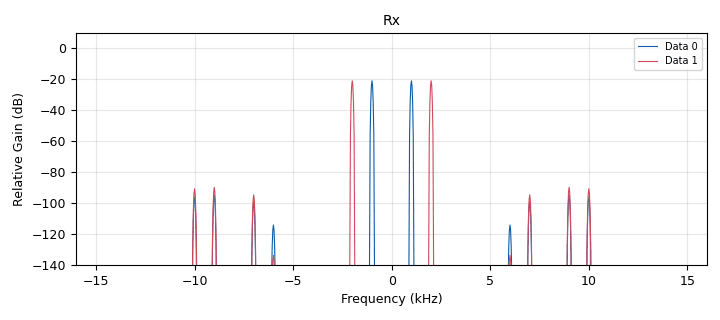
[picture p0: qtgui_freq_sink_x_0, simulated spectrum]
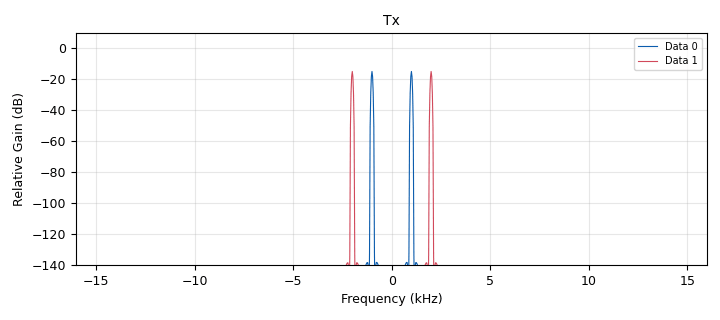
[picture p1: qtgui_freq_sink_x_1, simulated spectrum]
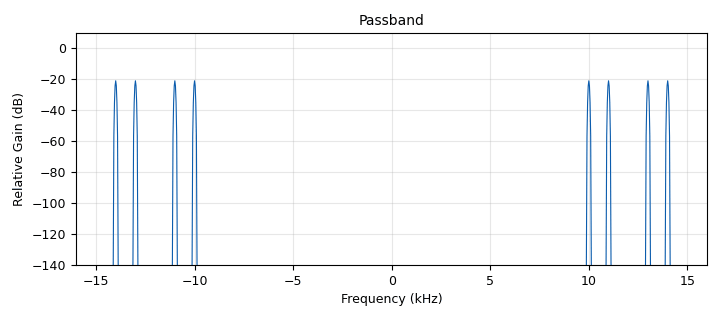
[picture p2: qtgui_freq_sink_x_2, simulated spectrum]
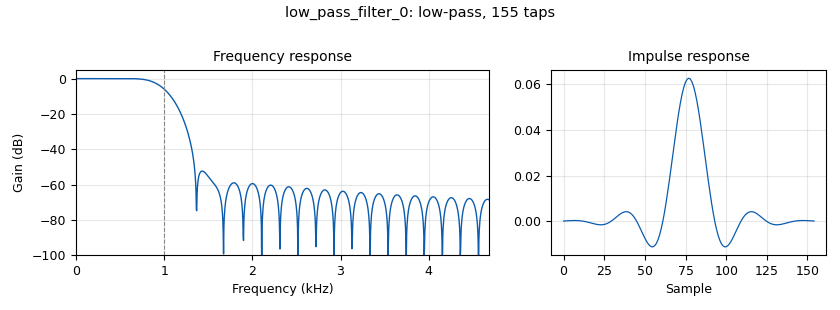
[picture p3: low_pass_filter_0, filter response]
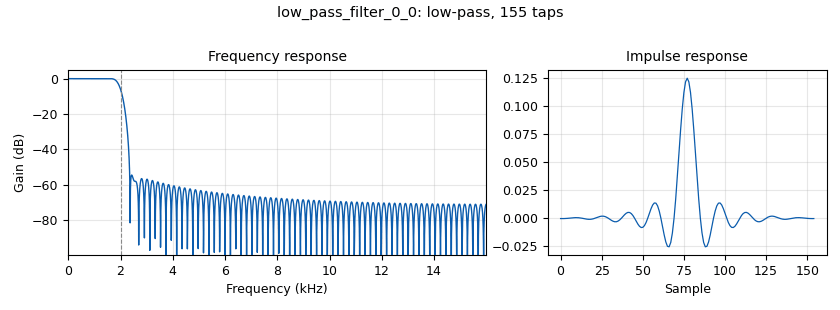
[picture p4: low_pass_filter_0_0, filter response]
options:
  parameters:
    description: Convert I/Q signals to qam modulated signal and vice versa.
    generate_options: qt_gui
    id: directconvert
    output_language: python
    title: Direct converter
  states: {}

blocks:
- name: fc
  id: variable
  parameters:
    value: 20e3
  states: {}
- name: samp_rate
  id: variable
  parameters:
    value: '32000'
  states: {}
- name: analog_sig_source_x_0
  id: analog_sig_source_x
  parameters:
    amp: '1'
    comment: I signal
    freq: '1000'
    offset: '0'
    phase: '0'
    samp_rate: samp_rate
    type: float
    waveform: analog.GR_COS_WAVE
  states: {}
- name: analog_sig_source_x_1
  id: analog_sig_source_x
  parameters:
    amp: '1'
    comment: Q signal
    freq: '2000'
    offset: '0'
    phase: '0'
    samp_rate: samp_rate
    type: float
    waveform: analog.GR_COS_WAVE
  states: {}
- name: analog_sig_source_x_2
  id: analog_sig_source_x
  parameters:
    amp: '1'
    comment: Carrier
    freq: fc
    offset: '0'
    phase: '0'
    samp_rate: samp_rate
    type: complex
    waveform: analog.GR_COS_WAVE
  states: {}
- name: analog_sig_source_x_2_0
  id: analog_sig_source_x
  parameters:
    amp: '1'
    comment: Carrier
    freq: fc
    offset: '0'
    phase: '0'
    samp_rate: samp_rate
    type: complex
    waveform: analog.GR_COS_WAVE
  states: {}
- name: blocks_complex_to_float_0
  id: blocks_complex_to_float
  parameters:
    comment: |-
      Re - Cos (2 pi fc t)
      Im - Sin (2 pi fc t)
  states: {}
- name: blocks_complex_to_float_0_0
  id: blocks_complex_to_float
  parameters:
    comment: |-
      Re - Cos (2 pi fc t)
      Im - Sin (2 pi fc t)
  states: {}
- name: blocks_multiply_const_vxx_0
  id: blocks_multiply_const_vxx
  parameters:
    const: '2'
    type: float
  states: {}
- name: blocks_multiply_const_vxx_0_0
  id: blocks_multiply_const_vxx
  parameters:
    const: '2'
    type: float
  states: {}
- name: blocks_multiply_xx_0
  id: blocks_multiply_xx
  parameters:
    type: float
  states: {}
- name: blocks_multiply_xx_0_0
  id: blocks_multiply_xx
  parameters:
    type: float
  states: {}
- name: blocks_multiply_xx_0_1
  id: blocks_multiply_xx
  parameters:
    type: float
  states: {}
- name: blocks_multiply_xx_0_1_0
  id: blocks_multiply_xx
  parameters:
    type: float
  states: {}
- name: blocks_sub_xx_0
  id: blocks_sub_xx
  parameters:
    type: float
  states: {}
- name: low_pass_filter_0
  id: low_pass_filter
  parameters:
    cutoff_freq: 1e3
    decim: '1'
    gain: '1'
    samp_rate: samp_rate
    type: fir_filter_fff
    width: '500'
    win: window.WIN_HAMMING
  states: {}
- name: low_pass_filter_0_0
  id: low_pass_filter
  parameters:
    cutoff_freq: 2e3
    decim: '1'
    gain: '1'
    samp_rate: samp_rate
    type: fir_filter_fff
    width: '500'
    win: window.WIN_HAMMING
  states: {}
- name: qtgui_freq_sink_x_0
  id: qtgui_freq_sink_x
  parameters:
    bw: samp_rate
    fc: '0'
    fftsize: '1024'
    name: '"Rx"'
    nconnections: '2'
    type: float
  states: {}
- name: qtgui_freq_sink_x_1
  id: qtgui_freq_sink_x
  parameters:
    bw: samp_rate
    fc: '0'
    fftsize: '1024'
    name: '"Tx"'
    nconnections: '2'
    type: float
  states: {}
- name: qtgui_freq_sink_x_2
  id: qtgui_freq_sink_x
  parameters:
    bw: samp_rate
    fc: '0'
    fftsize: '1024'
    name: '"Passband"'
    type: float
  states: {}
- name: virtual_sink_0
  id: virtual_sink
  parameters:
    stream_id: txsignal
  states: {}
- name: virtual_source_0
  id: virtual_source
  parameters:
    stream_id: txsignal
  states: {}

connections:
- [analog_sig_source_x_0, '0', blocks_multiply_xx_0, '0']
- [analog_sig_source_x_0, '0', qtgui_freq_sink_x_1, '0']
- [analog_sig_source_x_1, '0', blocks_multiply_xx_0_0, '1']
- [analog_sig_source_x_1, '0', qtgui_freq_sink_x_1, '1']
- [analog_sig_source_x_2, '0', blocks_complex_to_float_0, '0']
- [analog_sig_source_x_2_0, '0', blocks_complex_to_float_0_0, '0']
- [blocks_complex_to_float_0, '0', blocks_multiply_xx_0, '1']
- [blocks_complex_to_float_0, '1', blocks_multiply_xx_0_0, '0']
- [blocks_complex_to_float_0_0, '0', blocks_multiply_xx_0_1, '1']
- [blocks_complex_to_float_0_0, '1', blocks_multiply_xx_0_1_0, '0']
- [blocks_multiply_const_vxx_0, '0', qtgui_freq_sink_x_0, '0']
- [blocks_multiply_const_vxx_0_0, '0', qtgui_freq_sink_x_0, '1']
- [blocks_multiply_xx_0, '0', blocks_sub_xx_0, '0']
- [blocks_multiply_xx_0_0, '0', blocks_sub_xx_0, '1']
- [blocks_multiply_xx_0_1, '0', low_pass_filter_0, '0']
- [blocks_multiply_xx_0_1_0, '0', low_pass_filter_0_0, '0']
- [blocks_sub_xx_0, '0', qtgui_freq_sink_x_2, '0']
- [blocks_sub_xx_0, '0', virtual_sink_0, '0']
- [low_pass_filter_0, '0', blocks_multiply_const_vxx_0, '0']
- [low_pass_filter_0_0, '0', blocks_multiply_const_vxx_0_0, '0']
- [virtual_source_0, '0', blocks_multiply_xx_0_1, '0']
- [virtual_source_0, '0', blocks_multiply_xx_0_1_0, '1']

metadata:
  file_format: 1
  grc_version: 3.10.9.2
